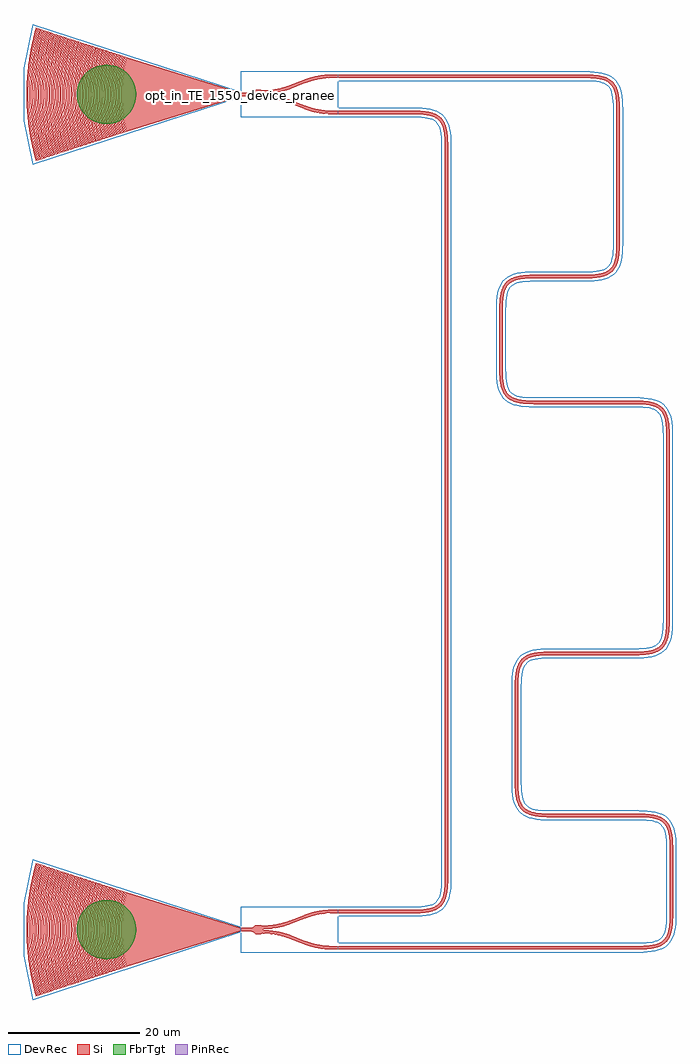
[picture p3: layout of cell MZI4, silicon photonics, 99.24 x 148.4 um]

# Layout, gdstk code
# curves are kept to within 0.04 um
import gdstk
lib = gdstk.Library(unit=1e-6, precision=1e-09)
def R(c, l, rs):  # rectangles x0, y0, x1, y1
    for r in rs: c.add(gdstk.rectangle(r[:2], r[2:], *l))
def P(c, l, *ps):  # polygons
    for p in ps: c.add(gdstk.Polygon(p, *l))
Si = (1, 0)
PinRec = (1, 10)
DevRec = (68, 0)
FbrTgt = (81, 0)

te1550_subgc_neg31_oxide = lib.new_cell('TE1550_SubGC_neg31_oxide')
P(te1550_subgc_neg31_oxide, Si, [(-17.556,-5.704),(-17.743,-4.914),(-17.881,-4.233),(-18.016,-3.437),(-18.095,-2.866),(-18.165,-2.237),(-18.222,-1.549),(-18.256,-0.918),(-18.274,-0.115),(-18.264,0.689),(-18.233,1.377),(-18.176,2.122),(-18.095,2.866),(-18.016,3.437),(-17.881,4.233),(-17.743,4.914),(-17.556,5.704),(-17.481,5.68),(-17.643,5.006),(-17.784,4.329),(-17.922,3.536),(-18.032,2.74),(-18.104,2.056),(-18.148,1.486),(-18.186,0.686),(-18.196,0.114),(-18.189,-0.572),(-18.165,-1.2),(-18.123,-1.828),(-18.058,-2.512),(-17.948,-3.365),(-17.826,-4.102),(-17.668,-4.893),(-17.481,-5.68)],
  [(-17.906,-5.818),(-18.207,-4.492),(-18.452,-2.982),(-18.601,-1.405),(-18.643,-0.117),(-18.601,1.405),(-18.452,2.982),(-18.207,4.492),(-17.906,5.818),(-17.659,5.738),(-17.932,4.544),(-18.188,2.998),(-18.338,1.443),(-18.383,0.116),(-18.338,-1.443),(-18.188,-2.998),(-17.932,-4.544),(-17.659,-5.738)],
  [(-18.084,-5.876),(-18.24,-5.237),(-18.4,-4.479),(-18.525,-3.776),(-18.629,-3.071),(-18.717,-2.305),(-18.772,-1.656),(-18.811,-0.946),(-18.83,-0.118),(-18.823,0.592),(-18.791,1.36),(-18.739,2.069),(-18.644,2.953),(-18.544,3.658),(-18.4,4.479),(-18.24,5.237),(-18.084,5.876),(-18.01,5.852),(-18.204,5.041),(-18.368,4.227),(-18.503,3.409),(-18.609,2.589),(-18.713,1.354),(-18.745,0.589),(-18.752,0.118),(-18.745,-0.589),(-18.713,-1.354),(-18.609,-2.589),(-18.503,-3.409),(-18.368,-4.227),(-18.204,-5.041),(-18.01,-5.852)],
  [(-18.435,-5.99),(-18.77,-4.506),(-19.001,-3.071),(-19.135,-1.748),(-19.199,-0.121),(-19.159,1.387),(-19.001,3.071),(-18.77,4.506),(-18.435,5.99),(-18.188,5.91),(-18.517,4.445),(-18.744,3.029),(-18.896,1.427),(-18.939,0.119),(-18.896,-1.427),(-18.759,-2.911),(-18.517,-4.445),(-18.188,-5.91)],
  [(-18.613,-6.048),(-18.815,-5.211),(-18.963,-4.49),(-19.099,-3.705),(-19.201,-2.979),(-19.269,-2.373),(-19.338,-1.522),(-19.369,-0.913),(-19.386,-0.122),(-19.377,0.67),(-19.349,1.339),(-19.286,2.191),(-19.201,2.979),(-19.099,3.705),(-18.963,4.49),(-18.815,5.211),(-18.613,6.048),(-18.539,6.024),(-18.713,5.309),(-18.876,4.532),(-19.013,3.751),(-19.131,2.907),(-19.203,2.242),(-19.264,1.455),(-19.291,0.91),(-19.308,0.121),(-19.299,-0.667),(-19.271,-1.334),(-19.239,-1.819),(-19.166,-2.605),(-19.076,-3.329),(-18.91,-4.352),(-18.753,-5.13),(-18.539,-6.024)],
  [(-18.964,-6.162),(-19.262,-4.881),(-19.533,-3.283),(-19.689,-1.799),(-19.755,-0.124),(-19.717,1.365),(-19.573,2.974),(-19.334,4.513),(-18.964,6.162),(-18.717,6.081),(-19.046,4.636),(-19.301,3.057),(-19.43,1.775),(-19.495,0.122),(-19.454,-1.408),(-19.301,-3.057),(-19.046,-4.636),(-18.717,-6.081)],
  [(-19.142,-6.22),(-19.337,-5.421),(-19.48,-4.742),(-19.625,-3.936),(-19.726,-3.251),(-19.808,-2.566),(-19.884,-1.691),(-19.924,-0.94),(-19.942,-0.125),(-19.934,0.626),(-19.9,1.44),(-19.833,2.316),(-19.758,3.002),(-19.635,3.874),(-19.516,4.556),(-19.337,5.421),(-19.142,6.22),(-19.068,6.195),(-19.289,5.277),(-19.44,4.538),(-19.587,3.673),(-19.696,2.866),(-19.772,2.12),(-19.822,1.435),(-19.853,0.749),(-19.864,0.125),(-19.853,-0.749),(-19.822,-1.435),(-19.772,-2.12),(-19.696,-2.866),(-19.587,-3.673),(-19.44,-4.538),(-19.289,-5.277),(-19.068,-6.195)],
  [(-19.493,-6.334),(-19.839,-4.829),(-20.107,-3.185),(-20.256,-1.658),(-20.311,-0.128),(-20.268,1.467),(-20.107,3.185),(-19.839,4.829),(-19.493,6.334),(-19.246,6.253),(-19.574,4.829),(-19.842,3.207),(-19.997,1.637),(-20.051,0.126),(-20.005,-1.511),(-19.866,-3.019),(-19.622,-4.581),(-19.246,-6.253)],
  [(-19.671,-6.391),(-19.843,-5.697),(-20.008,-4.937),(-20.149,-4.173),(-20.283,-3.278),(-20.379,-2.444),(-20.438,-1.738),(-20.482,-0.901),(-20.498,-0.129),(-20.482,0.901),(-20.438,1.738),(-20.379,2.444),(-20.283,3.278),(-20.149,4.173),(-20.008,4.937),(-19.843,5.697),(-19.671,6.391),(-19.597,6.367),(-19.797,5.55),(-20.005,4.538),(-20.153,3.648),(-20.246,2.946),(-20.325,2.179),(-20.373,1.539),(-20.404,0.898),(-20.42,0.128),(-20.412,-0.641),(-20.384,-1.347),(-20.336,-2.051),(-20.261,-2.819),(-20.153,-3.648),(-20.017,-4.474),(-19.825,-5.424),(-19.597,-6.367)],
  [(-20.022,-6.505),(-20.392,-4.896),(-20.656,-3.272),(-20.81,-1.704),(-20.867,-0.131),(-20.81,1.704),(-20.656,3.272),(-20.392,4.896),(-20.022,6.505),(-19.774,6.425),(-20.139,4.835),(-20.382,3.36),(-20.542,1.812),(-20.607,0.129),(-20.567,-1.424),(-20.399,-3.231),(-20.139,-4.835),(-19.774,-6.425)],
  [(-20.199,-6.563),(-20.437,-5.591),(-20.599,-4.809),(-20.726,-4.089),(-20.832,-3.367),(-20.931,-2.511),(-20.992,-1.785),(-21.04,-0.86),(-21.054,-0.132),(-21.044,0.728),(-21.001,1.653),(-20.931,2.511),(-20.849,3.235),(-20.726,4.089),(-20.599,4.809),(-20.437,5.591),(-20.199,6.563),(-20.125,6.539),(-20.347,5.635),(-20.523,4.791),(-20.67,3.943),(-20.804,2.961),(-20.878,2.239),(-20.923,1.647),(-20.962,0.857),(-20.976,0.132),(-20.966,-0.725),(-20.935,-1.449),(-20.878,-2.239),(-20.804,-2.961),(-20.67,-3.943),(-20.523,-4.791),(-20.347,-5.635),(-20.125,-6.539)],
  [(-20.55,-6.677),(-20.906,-5.158),(-21.205,-3.359),(-21.355,-1.883),(-21.423,-0.135),(-21.373,1.615),(-21.205,3.359),(-20.906,5.158),(-20.55,6.677),(-20.303,6.597),(-20.705,4.833),(-20.957,3.252),(-21.105,1.728),(-21.163,0.133),(-21.105,-1.728),(-20.957,-3.252),(-20.705,-4.833),(-20.303,-6.597)],
  [(-20.728,-6.735),(-20.912,-6.004),(-21.101,-5.136),(-21.249,-4.331),(-21.372,-3.523),(-21.483,-2.577),(-21.546,-1.832),(-21.593,-0.95),(-21.61,-0.136),(-21.593,0.95),(-21.555,1.696),(-21.483,2.577),(-21.39,3.388),(-21.249,4.331),(-21.101,5.136),(-20.912,6.004),(-20.728,6.735),(-20.654,6.711),(-20.868,5.85),(-21.025,5.118),(-21.195,4.181),(-21.33,3.241),(-21.412,2.5),(-21.473,1.758),(-21.515,0.947),(-21.532,0.135),(-21.525,-0.609),(-21.497,-1.352),(-21.448,-2.095),(-21.37,-2.904),(-21.237,-3.913),(-21.077,-4.85),(-20.868,-5.85),(-20.654,-6.711)],
  [(-21.079,-6.849),(-21.432,-5.359),(-21.736,-3.583),(-21.923,-1.725),(-21.979,-0.138),(-21.923,1.725),(-21.772,3.308),(-21.473,5.155),(-21.079,6.849),(-20.832,6.769),(-21.207,5.162),(-21.47,3.608),(-21.664,1.705),(-21.719,0.136),(-21.664,-1.705),(-21.515,-3.269),(-21.207,-5.162),(-20.832,-6.769)],
  [(-21.257,-6.907),(-21.494,-5.953),(-21.655,-5.199),(-21.817,-4.304),(-21.93,-3.544),(-22.042,-2.574),(-22.105,-1.81),(-22.146,-1.044),(-22.166,-0.139),(-22.159,0.627),(-22.114,1.67),(-22.042,2.574),(-21.957,3.336),(-21.817,4.304),(-21.655,5.199),(-21.494,5.953),(-21.257,6.907),(-21.183,6.883),(-21.419,5.932),(-21.606,5.044),(-21.773,4.083),(-21.888,3.256),(-21.971,2.495),(-22.036,1.665),(-22.073,0.902),(-22.088,0.139),(-22.081,-0.624),(-22.052,-1.387),(-22.001,-2.149),(-21.905,-3.117),(-21.773,-4.083),(-21.606,-5.044),(-21.419,-5.932),(-21.183,-6.883)],
  [(-21.608,-7.021),(-21.985,-5.425),(-22.294,-3.603),(-22.482,-1.698),(-22.535,-0.142),(-22.482,1.698),(-22.294,3.603),(-21.985,5.425),(-21.608,7.021),(-21.361,6.941),(-21.761,5.224),(-22.028,3.631),(-22.218,1.749),(-22.275,0.14),(-22.227,-1.609),(-22.073,-3.283),(-21.788,-5.086),(-21.361,-6.941)],
  [(-21.786,-7.079),(-21.964,-6.381),(-22.167,-5.469),(-22.302,-4.765),(-22.469,-3.704),(-22.565,-2.923),(-22.649,-1.997),(-22.704,-0.999),(-22.722,-0.143),(-22.713,0.714),(-22.677,1.57),(-22.601,2.567),(-22.488,3.562),(-22.374,4.341),(-22.195,5.329),(-22.03,6.101),(-21.786,7.079),(-21.712,7.055),(-21.922,6.22),(-22.161,5.1),(-22.308,4.256),(-22.447,3.267),(-22.53,2.487),(-22.586,1.778),(-22.626,0.996),(-22.644,0.142),(-22.635,-0.711),(-22.595,-1.635),(-22.53,-2.487),(-22.447,-3.267),(-22.308,-4.256),(-22.161,-5.1),(-21.922,-6.22),(-21.712,-7.055)],
  [(-22.137,-7.193),(-22.54,-5.486),(-22.843,-3.692),(-23.011,-2.102),(-23.091,-0.145),(-23.045,1.595),(-22.862,3.547),(-22.54,5.486),(-22.137,7.193),(-21.89,7.112),(-22.287,5.425),(-22.596,3.579),(-22.777,1.721),(-22.831,0.143),(-22.777,-1.721),(-22.596,-3.579),(-22.287,-5.425),(-21.89,-7.112)],
  [(-22.315,-7.25),(-22.549,-6.321),(-22.736,-5.458),(-22.895,-4.592),(-23.047,-3.576),(-23.139,-2.776),(-23.218,-1.827),(-23.262,-0.951),(-23.278,-0.146),(-23.262,0.951),(-23.218,1.827),(-23.139,2.776),(-23.047,3.576),(-22.895,4.592),(-22.736,5.458),(-22.549,6.321),(-22.315,7.25),(-22.24,7.226),(-22.457,6.372),(-22.646,5.512),(-22.843,4.432),(-22.979,3.492),(-23.076,2.621),(-23.145,1.748),(-23.184,0.947),(-23.2,0.146),(-23.194,-0.583),(-23.158,-1.53),(-23.102,-2.33),(-23.006,-3.274),(-22.899,-4.071),(-22.73,-5.081),(-22.507,-6.157),(-22.24,-7.226)],
  [(-22.666,-7.364),(-23.095,-5.545),(-23.392,-3.78),(-23.581,-1.93),(-23.647,-0.149),(-23.586,1.856),(-23.421,3.559),(-23.095,5.545),(-22.666,7.364),(-22.418,7.284),(-22.842,5.484),(-23.145,3.666),(-23.311,2.056),(-23.387,0.147),(-23.336,-1.689),(-23.145,-3.666),(-22.842,-5.484),(-22.418,-7.284)],
  [(-22.843,-7.422),(-23.067,-6.545),(-23.262,-5.662),(-23.441,-4.701),(-23.556,-3.959),(-23.691,-2.842),(-23.762,-2.02),(-23.815,-1.048),(-23.834,-0.15),(-23.82,0.898),(-23.782,1.721),(-23.713,2.618),(-23.606,3.587),(-23.441,4.701),(-23.277,5.588),(-23.067,6.545),(-22.843,7.422),(-22.769,7.398),(-22.992,6.523),(-23.201,5.57),(-23.389,4.538),(-23.538,3.501),(-23.642,2.535),(-23.704,1.716),(-23.742,0.895),(-23.756,0.149),(-23.742,-0.895),(-23.704,-1.716),(-23.642,-2.535),(-23.565,-3.278),(-23.401,-4.464),(-23.23,-5.423),(-22.992,-6.523),(-22.769,-7.398)],
  [(-23.194,-7.536),(-23.605,-5.824),(-23.951,-3.793),(-24.135,-1.976),(-24.203,-0.152),(-24.15,1.748),(-23.961,3.718),(-23.605,5.824),(-23.194,7.536),(-22.947,7.456),(-23.368,5.688),(-23.684,3.827),(-23.876,1.955),(-23.943,0.15),(-23.886,-1.804),(-23.704,-3.678),(-23.383,-5.614),(-22.947,-7.456)],
  [(-23.372,-7.594),(-23.602,-6.696),(-23.802,-5.793),(-23.96,-4.962),(-24.115,-3.975),(-24.219,-3.137),(-24.316,-2.067),(-24.373,-0.996),(-24.39,-0.153),(-24.373,0.996),(-24.316,2.067),(-24.219,3.137),(-24.115,3.975),(-23.96,4.962),(-23.802,5.793),(-23.602,6.696),(-23.372,7.594),(-23.298,7.57),(-23.562,6.525),(-23.801,5.399),(-23.971,4.417),(-24.088,3.583),(-24.188,2.67),(-24.249,1.908),(-24.295,0.993),(-24.312,0.153),(-24.3,-0.84),(-24.263,-1.68),(-24.195,-2.594),(-24.088,-3.583),(-23.971,-4.417),(-23.801,-5.399),(-23.562,-6.525),(-23.298,-7.57)],
  [(-23.723,-7.708),(-24.145,-5.957),(-24.479,-4.035),(-24.678,-2.176),(-24.759,-0.156),(-24.709,1.71),(-24.5,3.88),(-24.145,5.957),(-23.723,7.708),(-23.476,7.628),(-23.908,5.819),(-24.233,3.916),(-24.43,2),(-24.499,0.154),(-24.43,-2),(-24.233,-3.916),(-23.908,-5.819),(-23.476,-7.628)],
  [(-23.901,-7.766),(-24.137,-6.848),(-24.358,-5.848),(-24.518,-4.997),(-24.674,-3.987),(-24.779,-3.13),(-24.87,-2.115),(-24.916,-1.332),(-24.946,-0.157),(-24.931,0.94),(-24.891,1.802),(-24.803,2.896),(-24.695,3.832),(-24.531,4.92),(-24.358,5.848),(-24.137,6.848),(-23.901,7.766),(-23.827,7.742),(-24.098,6.674),(-24.313,5.676),(-24.493,4.672),(-24.638,3.665),(-24.733,2.809),(-24.803,1.952),(-24.848,1.094),(-24.868,0.156),(-24.858,-0.781),(-24.818,-1.718),(-24.733,-2.809),(-24.638,-3.665),(-24.493,-4.672),(-24.313,-5.676),(-24.098,-6.674),(-23.827,-7.742)],
  [(-24.252,-7.88),(-24.717,-5.934),(-25.049,-3.967),(-25.232,-2.225),(-25.315,-0.159),(-25.259,1.828),(-25.07,3.809),(-24.717,5.934),(-24.252,7.88),(-24.005,7.8),(-24.464,5.873),(-24.782,4.005),(-24.973,2.202),(-25.055,0.157),(-25.009,-1.652),(-24.803,-3.848),(-24.464,-5.873),(-24.005,-7.8)],
  [(-24.43,-7.938),(-24.709,-6.843),(-24.866,-6.135),(-25.049,-5.187),(-25.234,-3.997),(-25.339,-3.12),(-25.424,-2.162),(-25.478,-1.202),(-25.502,-0.16),(-25.489,0.881),(-25.435,2.002),(-25.339,3.12),(-25.234,3.997),(-25.049,5.187),(-24.866,6.135),(-24.709,6.843),(-24.43,7.938),(-24.356,7.914),(-24.634,6.822),(-24.839,5.881),(-25,5.014),(-25.178,3.826),(-25.278,2.952),(-25.352,2.075),(-25.397,1.278),(-25.424,0.16),(-25.409,-0.958),(-25.377,-1.677),(-25.293,-2.792),(-25.198,-3.667),(-25.052,-4.697),(-24.839,-5.881),(-24.634,-6.822),(-24.356,-7.914)],
  [(-24.781,-8.052),(-25.241,-6.144),(-25.576,-4.216),(-25.803,-2.031),(-25.871,-0.163),(-25.803,2.031),(-25.609,3.974),(-25.274,5.984),(-24.781,8.052),(-24.533,7.971),(-24.972,6.161),(-25.308,4.253),(-25.544,2.01),(-25.611,0.161),(-25.544,-2.01),(-25.352,-3.934),(-25.021,-5.924),(-24.533,-7.971)],
  [(-24.959,-8.11),(-25.187,-7.232),(-25.423,-6.188),(-25.635,-5.057),(-25.772,-4.165),(-25.891,-3.188),(-25.984,-2.127),(-26.03,-1.31),(-26.058,-0.164),(-26.045,0.9),(-25.995,1.964),(-25.891,3.188),(-25.794,4.002),(-25.635,5.057),(-25.423,6.188),(-25.187,7.232),(-24.959,8.11),(-24.884,8.085),(-25.15,7.051),(-25.38,6.009),(-25.572,4.961),(-25.738,3.828),(-25.846,2.853),(-25.917,1.958),(-25.967,0.898),(-25.98,0.163),(-25.967,-0.898),(-25.932,-1.713),(-25.868,-2.609),(-25.768,-3.585),(-25.624,-4.638),(-25.412,-5.848),(-25.207,-6.811),(-24.884,-8.085)],
  [(-25.31,-8.224),(-25.815,-6.112),(-26.136,-4.224),(-26.357,-2.074),(-26.427,-0.166),(-26.368,1.909),(-26.18,3.894),(-25.815,6.112),(-25.31,8.224),(-25.062,8.143),(-25.512,6.295),(-25.868,4.264),(-26.098,2.054),(-26.167,0.164),(-26.123,-1.644),(-25.923,-3.856),(-25.562,-6.052),(-25.062,-8.143)],
  [(-25.487,-8.281),(-25.761,-7.222),(-25.946,-6.402),(-26.152,-5.33),(-26.321,-4.254),(-26.451,-3.173),(-26.532,-2.256),(-26.589,-1.254),(-26.614,-0.167),(-26.598,1.003),(-26.538,2.172),(-26.451,3.173),(-26.321,4.254),(-26.152,5.33),(-25.946,6.402),(-25.761,7.222),(-25.487,8.281),(-25.413,8.257),(-25.686,7.201),(-25.921,6.137),(-26.118,5.067),(-26.288,3.91),(-26.374,3.164),(-26.466,2.083),(-26.511,1.25),(-26.536,0.167),(-26.525,-0.834),(-26.482,-1.833),(-26.406,-2.831),(-26.288,-3.91),(-26.118,-5.067),(-25.921,-6.137),(-25.686,-7.201),(-25.413,-8.257)],
  [(-25.838,-8.395),(-26.339,-6.323),(-26.685,-4.312),(-26.887,-2.456),(-26.983,-0.17),(-26.917,2.033),(-26.708,4.144),(-26.356,6.24),(-25.838,8.395),(-25.591,8.315),(-26.086,6.263),(-26.44,4.188),(-26.658,2.014),(-26.723,0.168),(-26.658,-2.014),(-26.44,-4.188),(-26.086,-6.263),(-25.591,-8.315)],
  [(-26.016,-8.453),(-26.256,-7.539),(-26.503,-6.451),(-26.697,-5.441),(-26.858,-4.427),(-26.976,-3.494),(-27.086,-2.303),(-27.144,-1.28),(-27.17,-0.085),(-27.156,0.939),(-27.098,2.133),(-27.012,3.154),(-26.893,4.173),(-26.726,5.272),(-26.538,6.283),(-26.256,7.539),(-26.016,8.453),(-25.942,8.429),(-26.261,7.184),(-26.479,6.181),(-26.664,5.173),(-26.838,3.992),(-26.943,3.06),(-27.026,2.042),(-27.078,0.936),(-27.092,0.085),(-27.078,-0.936),(-27.026,-2.042),(-26.943,-3.06),(-26.838,-3.992),(-26.664,-5.173),(-26.479,-6.181),(-26.261,-7.184),(-25.942,-8.429)],
  [(-26.367,-8.567),(-26.897,-6.368),(-27.246,-4.315),(-27.466,-2.162),(-27.539,-0.087),(-27.466,2.162),(-27.246,4.315),(-26.897,6.368),(-26.367,8.567),(-26.12,8.487),(-26.644,6.308),(-26.989,4.275),(-27.218,1.97),(-27.279,0.086),(-27.218,-1.97),(-26.989,-4.275),(-26.644,-6.308),(-26.12,-8.487)],
  [(-26.545,-8.625),(-26.832,-7.522),(-27.079,-6.411),(-27.286,-5.294),(-27.442,-4.258),(-27.573,-3.132),(-27.658,-2.089),(-27.712,-0.958),(-27.726,-0.087),(-27.712,0.958),(-27.658,2.089),(-27.573,3.132),(-27.442,4.258),(-27.286,5.294),(-27.079,6.411),(-26.832,7.522),(-26.545,8.625),(-26.471,8.601),(-26.777,7.416),(-27.003,6.393),(-27.195,5.365),(-27.365,4.246),(-27.487,3.209),(-27.586,1.997),(-27.634,0.955),(-27.648,0.087),(-27.634,-0.955),(-27.586,-1.997),(-27.52,-2.863),(-27.42,-3.815),(-27.265,-4.935),(-27.071,-6.051),(-26.817,-7.246),(-26.63,-8.01),(-26.471,-8.601)],
  [(-26.896,-8.739),(-27.402,-6.67),(-27.783,-4.49),(-28.014,-2.293),(-28.095,-0.088),(-28.026,2.117),(-27.807,4.315),(-27.438,6.496),(-26.896,8.739),(-26.649,8.659),(-27.185,6.436),(-27.55,4.275),(-27.761,2.185),(-27.835,0.087),(-27.761,-2.185),(-27.55,-4.275),(-27.185,-6.436),(-26.649,-8.659)],
  [(-27.074,-8.797),(-27.346,-7.759),(-27.602,-6.627),(-27.802,-5.576),(-27.955,-4.608),(-28.098,-3.46),(-28.194,-2.397),(-28.255,-1.332),(-28.282,-0.089),(-28.265,1.066),(-28.218,2.042),(-28.134,3.106),(-28.015,4.167),(-27.832,5.4),(-27.62,6.539),(-27.346,7.759),(-27.074,8.797),(-27,8.773),(-27.292,7.651),(-27.544,6.521),(-27.77,5.297),(-27.949,4.067),(-28.048,3.186),(-28.129,2.214),(-28.184,1.152),(-28.204,0.089),(-28.187,-1.063),(-28.146,-1.948),(-28.073,-2.921),(-27.949,-4.067),(-27.77,-5.297),(-27.544,-6.521),(-27.292,-7.651),(-27,-8.773)],
  [(-27.425,-8.911),(-27.979,-6.624),(-28.344,-4.489),(-28.568,-2.339),(-28.651,-0.09),(-28.568,2.339),(-28.344,4.489),(-27.979,6.624),(-27.425,8.911),(-27.177,8.83),(-27.708,6.652),(-28.075,4.537),(-28.309,2.317),(-28.391,0.089),(-28.309,-2.317),(-28.075,-4.537),(-27.708,-6.652),(-27.177,-8.83)],
  [(-27.603,-8.969),(-27.881,-7.91),(-28.124,-6.845),(-28.347,-5.685),(-28.529,-4.518),(-28.678,-3.257),(-28.761,-2.264),(-28.814,-1.268),(-28.838,-0.091),(-28.826,0.906),(-28.761,2.264),(-28.678,3.257),(-28.529,4.518),(-28.347,5.685),(-28.124,6.845),(-27.881,7.91),(-27.603,8.969),(-27.528,8.944),(-27.806,7.889),(-28.085,6.649),(-28.316,5.402),(-28.476,4.327),(-28.582,3.428),(-28.677,2.348),(-28.736,1.265),(-28.76,0.09),(-28.748,-0.903),(-28.695,-2.077),(-28.609,-3.158),(-28.499,-4.147),(-28.331,-5.312),(-28.121,-6.472),(-27.87,-7.624),(-27.528,-8.944)],
  [(-27.953,-9.083),(-28.52,-6.752),(-28.893,-4.576),(-29.135,-2.201),(-29.207,-0.092),(-29.135,2.201),(-28.918,4.394),(-28.52,6.752),(-27.953,9.083),(-27.706,9.002),(-28.23,6.871),(-28.624,4.626),(-28.863,2.363),(-28.947,0.091),(-28.887,-2),(-28.649,-4.445),(-28.23,-6.871),(-27.706,-9.002)],
  [(-28.131,-9.14),(-28.416,-8.062),(-28.645,-7.068),(-28.86,-5.977),(-29.078,-4.605),(-29.221,-3.412),(-29.315,-2.307),(-29.373,-1.2),(-29.394,-0.092),(-29.373,1.2),(-29.315,2.307),(-29.221,3.412),(-29.078,4.605),(-28.86,5.977),(-28.645,7.068),(-28.416,8.062),(-28.131,9.14),(-28.057,9.116),(-28.363,7.951),(-28.663,6.596),(-28.892,5.323),(-29.061,4.136),(-29.179,3.036),(-29.255,2.025),(-29.301,1.013),(-29.316,0.092),(-29.301,-1.013),(-29.255,-2.025),(-29.179,-3.036),(-29.061,-4.136),(-28.892,-5.323),(-28.663,-6.596),(-28.363,-7.951),(-28.057,-9.116)],
  [(-28.482,-9.254),(-29.003,-7.156),(-29.416,-4.849),(-29.683,-2.336),(-29.763,-0.094),(-29.683,2.336),(-29.455,4.57),(-29.042,6.972),(-28.482,9.254),(-28.235,9.174),(-28.77,7.003),(-29.173,4.714),(-29.424,2.316),(-29.503,0.093),(-29.424,-2.316),(-29.173,-4.714),(-28.77,-7.003),(-28.235,-9.174)],
  [(-28.66,-9.312),(-28.928,-8.306),(-29.224,-7.016),(-29.421,-5.996),(-29.601,-4.879),(-29.733,-3.851),(-29.863,-2.445),(-29.925,-1.317),(-29.95,-0.094),(-29.937,0.941),(-29.882,2.163),(-29.792,3.289),(-29.64,4.599),(-29.437,5.904),(-29.224,7.016),(-28.928,8.306),(-28.66,9.312),(-28.586,9.288),(-28.898,8.101),(-29.148,6.998),(-29.393,5.703),(-29.563,4.587),(-29.696,3.467),(-29.798,2.251),(-29.847,1.314),(-29.872,0.094),(-29.862,-0.845),(-29.798,-2.251),(-29.696,-3.467),(-29.563,-4.587),(-29.393,-5.703),(-29.148,-6.998),(-28.898,-8.101),(-28.586,-9.288)],
  [(-29.011,-9.426),(-29.563,-7.196),(-29.965,-4.939),(-30.237,-2.38),(-30.319,-0.095),(-30.25,2.19),(-30.017,4.561),(-29.602,7.008),(-29.011,9.426),(-28.764,9.346),(-29.33,7.041),(-29.735,4.709),(-29.978,2.359),(-30.059,0.094),(-29.978,-2.359),(-29.735,-4.709),(-29.33,-7.041),(-28.764,-9.346)],
  [(-29.189,-9.484),(-29.554,-8.085),(-29.784,-7.052),(-29.999,-5.918),(-30.163,-4.874),(-30.295,-3.827),(-30.417,-2.49),(-30.484,-1.246),(-30.506,-0.096),(-30.484,1.246),(-30.417,2.49),(-30.295,3.827),(-30.163,4.874),(-29.999,5.918),(-29.784,7.052),(-29.554,8.085),(-29.189,9.484),(-29.115,9.46),(-29.456,8.158),(-29.708,7.034),(-29.97,5.62),(-30.125,4.577),(-30.248,3.532),(-30.346,2.388),(-30.406,1.242),(-30.428,0.096),(-30.406,-1.242),(-30.346,-2.388),(-30.248,-3.532),(-30.125,-4.577),(-29.97,-5.62),(-29.708,-7.034),(-29.456,-8.158),(-29.115,-9.46)],
  [(-29.54,-9.598),(-30.143,-7.137),(-30.554,-4.741),(-30.798,-2.327),(-30.875,-0.097),(-30.798,2.327),(-30.554,4.741),(-30.143,7.137),(-29.54,9.598),(-29.293,9.518),(-29.89,7.077),(-30.284,4.796),(-30.539,2.307),(-30.615,0.096),(-30.539,-2.307),(-30.284,-4.796),(-29.89,-7.077),(-29.293,-9.518)],
  [(-29.718,-9.656),(-29.997,-8.613),(-30.285,-7.371),(-30.493,-6.315),(-30.712,-4.963),(-30.857,-3.8),(-30.964,-2.633),(-31.036,-1.366),(-31.062,-0.098),(-31.046,1.073),(-30.991,2.243),(-30.897,3.411),(-30.752,4.673),(-30.561,5.929),(-30.345,7.084),(-30.044,8.422),(-29.718,9.656),(-29.643,9.632),(-29.969,8.401),(-30.269,7.066),(-30.501,5.818),(-30.7,4.468),(-30.829,3.306),(-30.907,2.335),(-30.965,1.168),(-30.984,0.097),(-30.965,-1.168),(-30.907,-2.335),(-30.829,-3.306),(-30.7,-4.468),(-30.501,-5.818),(-30.269,-7.066),(-29.969,-8.401),(-29.643,-9.632)],
  [(-30.069,-9.77),(-30.664,-7.362),(-31.09,-4.924),(-31.346,-2.467),(-31.431,-0.099),(-31.346,2.467),(-31.09,4.924),(-30.664,7.362),(-30.069,9.77),(-29.821,9.69),(-30.411,7.301),(-30.833,4.883),(-31.093,2.349),(-31.171,0.098),(-31.093,-2.349),(-30.833,-4.883),(-30.411,-7.301),(-29.821,-9.69)],
  [(-30.246,-9.828),(-30.603,-8.475),(-30.866,-7.308),(-31.107,-6.035),(-31.288,-4.855),(-31.43,-3.67),(-31.539,-2.382),(-31.595,-1.291),(-31.618,-0.099),(-31.595,1.291),(-31.539,2.382),(-31.43,3.67),(-31.288,4.855),(-31.107,6.035),(-30.866,7.308),(-30.603,8.475),(-30.246,9.828),(-30.172,9.804),(-30.528,8.455),(-30.77,7.387),(-30.907,6.705),(-31.047,5.922),(-31.211,4.843),(-31.342,3.759),(-31.461,2.377),(-31.517,1.288),(-31.54,0.099),(-31.529,-0.892),(-31.474,-2.179),(-31.391,-3.266),(-31.25,-4.548),(-31.047,-5.922),(-30.83,-7.095),(-30.528,-8.455),(-30.172,-9.804)],
  [(-30.597,-9.942),(-31.225,-7.393),(-31.625,-5.111),(-31.893,-2.611),(-31.987,-0.1),(-31.907,2.41),(-31.653,4.911),(-31.225,7.393),(-30.597,9.942),(-30.35,9.861),(-30.931,7.529),(-31.396,4.872),(-31.641,2.49),(-31.727,0.1),(-31.641,-2.49),(-31.396,-4.872),(-30.931,-7.529),(-30.35,-9.861)],
  [(-30.775,-9.999),(-31.09,-8.821),(-31.344,-7.734),(-31.564,-6.64),(-31.795,-5.241),(-31.95,-4.036),(-32.072,-2.727),(-32.129,-1.819),(-32.154,-1.213),(-32.174,-0.101),(-32.154,1.213),(-32.1,2.323),(-32.012,3.432),(-31.851,4.84),(-31.686,5.941),(-31.428,7.337),(-31.139,8.624),(-30.775,9.999),(-30.701,9.975),(-31.015,8.8),(-31.18,8.11),(-31.352,7.319),(-31.593,6.027),(-31.774,4.828),(-31.915,3.625),(-32.009,2.519),(-32.069,1.411),(-32.096,0.101),(-32.076,-1.21),(-32.009,-2.519),(-31.915,-3.625),(-31.774,-4.828),(-31.593,-6.027),(-31.352,-7.319),(-31.18,-8.11),(-31.015,-8.8),(-30.701,-9.975)],
  [(-31.126,-10.114),(-31.724,-7.722),(-32.174,-5.199),(-32.447,-2.656),(-32.543,-0.102),(-32.519,1.329),(-32.447,2.656),(-32.174,5.199),(-31.724,7.722),(-31.126,10.114),(-30.879,10.033),(-31.471,7.66),(-31.917,5.158),(-32.188,2.635),(-32.283,0.101),(-32.202,-2.433),(-31.959,-4.856),(-31.534,-7.361),(-31.244,-8.653),(-30.879,-10.033)],
  [(-17.378,-5.646),(-17.678,-4.303),(-17.903,-2.893),(-18.043,-1.42),(-18.087,-0.114),(-18.05,1.306),(-17.924,2.724),(-17.678,4.303),(-17.378,5.646),(0,0.25),(0,-0.25)])
te1550_subgc_neg31_oxide.add(gdstk.Label('Ref: Yun Wang, Optics Express, 08/2014', (-33,0), layer=10, texttype=0))
te1550_subgc_neg31_oxide.add(gdstk.Label('http://dx.doi.org/10.1364/OE.22.020652', (-33,-2), layer=10, texttype=0))
te1550_subgc_neg31_oxide.add(gdstk.Label('TE 1550 -31 deg', (-33,2), layer=10, texttype=0))

ebeam_gc_te1550 = lib.new_cell('ebeam_gc_te1550')
R(ebeam_gc_te1550, Si, [(-0.001,-0.001,0.001,0.001)])
P(ebeam_gc_te1550, DevRec, [(-31.6,-10.7),(-33,-4),(-33,4),(-31.6,10.7),(0,0.4),(0,-0.4)])
P(ebeam_gc_te1550, FbrTgt, [(-20.621,-4.5),(-21.495,-4.37),(-22.326,-4.073),(-23.084,-3.619),(-23.738,-3.026),(-24.264,-2.316),(-24.642,-1.518),(-24.857,-0.661),(-24.9,0.221),(-24.77,1.095),(-24.473,1.926),(-24.019,2.684),(-23.426,3.338),(-22.716,3.864),(-21.918,4.242),(-21.061,4.457),(-20.179,4.5),(-19.305,4.37),(-18.474,4.073),(-17.716,3.619),(-17.062,3.026),(-16.536,2.316),(-16.158,1.518),(-15.943,0.661),(-15.9,-0.221),(-16.03,-1.095),(-16.327,-1.926),(-16.781,-2.684),(-17.374,-3.338),(-18.084,-3.864),(-18.882,-4.242),(-19.739,-4.457)])
ebeam_gc_te1550.add(gdstk.FlexPath([(-0.05,0),(0.05,0)], 0.5, ends="flush", simple_path=True, layer=1, datatype=10))  # PinRec
ebeam_gc_te1550.add(gdstk.Reference(te1550_subgc_neg31_oxide, (0,0)))
ebeam_gc_te1550.add(gdstk.Label('opt1', (0,0), layer=1, texttype=10))
ebeam_gc_te1550.add(gdstk.Label('Component=ebeam_gc_te1550', (-28,-5), layer=68, texttype=0))
ebeam_gc_te1550.add(gdstk.Label('Lumerical_INTERCONNECT_library=Design kits/ebeam', (-29,-7), layer=68, texttype=0))

ebeam_y_1550 = lib.new_cell('ebeam_y_1550')
R(ebeam_y_1550, Si, [(6.5,-3,7.4,-2.5), (-7.4,-0.25,-6,0.25), (6.5,2.5,7.4,3)])
P(ebeam_y_1550, Si, [(6.458,-3),(6.237,-2.997),(6.237,-2.497),(6.5,-2.5),(6.5,-3)],
  [(5.033,-2.908),(3.59,-2.634),(2.265,-2.21),(2.445,-1.744),(3.731,-2.154),(5.033,-2.404)],
  [(6.233,-2.997),(5.033,-2.908),(5.033,-2.404),(6.237,-2.497)],
  [(2.265,-2.21),(0.055,-1.356),(0.235,-0.89),(2.445,-1.744)],
  [(-0.762,-1.076),(-2.334,-0.724),(-4,-0.6),(-4,-0.1),(-2.381,-0.212),(-0.762,-0.555)],
  [(0.055,-1.356),(-0.762,-1.076),(-0.762,-0.555),(0.235,-0.89)],
  [(6.237,2.497),(6.237,2.997),(6.5,3),(6.5,2.5)],
  [(2.445,1.744),(2.267,2.211),(3.59,2.634),(5.033,2.908),(5.033,2.404),(3.731,2.154)],
  [(5.033,2.404),(5.033,2.908),(6.237,2.997),(6.237,2.497)],
  [(0.235,0.89),(0.055,1.356),(2.265,2.21),(2.445,1.744)],
  [(-4,0.1),(-4,0.6),(-2.334,0.724),(-0.762,1.076),(-0.762,0.555),(-2.381,0.212)],
  [(-0.762,0.555),(-0.762,1.076),(0.055,1.356),(0.235,0.89)],
  [(-5.122,-0.662),(-5.442,-0.374),(-5.808,-0.255),(-6,-0.25),(-6,0.25),(-5.817,0.253),(-5.442,0.374),(-5.122,0.662)],
  [(-4.957,-0.703),(-5.122,-0.662),(-5.122,0.662),(-4.538,0.703),(-4,0.6),(-4,-0.6),(-4.509,-0.701)])
R(ebeam_y_1550, DevRec, [(-7.4,-3.5,7.4,3.5)])
ebeam_y_1550.add(gdstk.FlexPath([(-7.35,0),(-7.45,0)], 0.5, ends="flush", simple_path=True, layer=1, datatype=10))  # PinRec
ebeam_y_1550.add(gdstk.FlexPath([(7.35,2.75),(7.45,2.75)], 0.5, ends="flush", simple_path=True, layer=1, datatype=10))  # PinRec
ebeam_y_1550.add(gdstk.FlexPath([(7.35,-2.75),(7.45,-2.75)], 0.5, ends="flush", simple_path=True, layer=1, datatype=10))  # PinRec
ebeam_y_1550.add(gdstk.Label('Ref: Y Zhang, Opt. Express, 21/1, 2013', (-7.5,-1), layer=10, texttype=0))
ebeam_y_1550.add(gdstk.Label('opt2', (7.4,2.75), layer=1, texttype=10))
ebeam_y_1550.add(gdstk.Label('opt3', (7.4,-2.75), layer=1, texttype=10))
ebeam_y_1550.add(gdstk.Label('opt1', (-7.4,0), layer=1, texttype=10))
ebeam_y_1550.add(gdstk.Label('Component=ebeam_y_1550', (-6,1.5), layer=68, texttype=0))
ebeam_y_1550.add(gdstk.Label('Lumerical_INTERCONNECT_library=Design kits/ebeam', (-6.86,-2.19), layer=68, texttype=0))

waveguide_4 = lib.new_cell('Waveguide$4')
P(waveguide_4, Si, [(-252.35,68.37),(-252.35,68.87),(-240.653,68.872),(-239.484,68.924),(-238.528,69.066),(-237.566,69.411),(-237.202,69.655),(-236.904,69.953),(-236.464,70.756),(-236.191,72.061),(-236.12,73.62),(-236.12,185.12),(-236.233,187.01),(-236.51,188.102),(-236.974,188.867),(-237.377,189.214),(-237.777,189.434),(-238.826,189.733),(-240.653,189.869),(-252.35,189.87),(-252.35,190.37),(-240.649,190.369),(-239.257,190.297),(-238.267,190.126),(-237.573,189.89),(-236.99,189.553),(-236.519,189.104),(-236.16,188.543),(-235.865,187.724),(-235.715,186.911),(-235.63,185.768),(-235.62,73.62),(-235.693,72.007),(-235.827,71.171),(-235.994,70.588),(-236.222,70.077),(-236.518,69.637),(-236.886,69.269),(-237.326,68.973),(-237.837,68.745),(-238.42,68.578),(-239.256,68.444),(-240.432,68.375)])
P(waveguide_4, DevRec, [(-252.35,67.87),(-252.35,69.37),(-240.22,69.381),(-239.125,69.468),(-238.294,69.646),(-237.711,69.906),(-237.494,70.063),(-237.155,70.462),(-236.795,71.427),(-236.662,72.39),(-236.62,73.62),(-236.62,185.12),(-236.718,186.865),(-236.896,187.696),(-237.016,188.016),(-237.313,188.496),(-237.495,188.678),(-237.975,188.975),(-239.126,189.273),(-240.871,189.37),(-252.35,189.37),(-252.35,190.87),(-240.869,190.87),(-239.52,190.824),(-238.361,190.661),(-237.361,190.343),(-236.521,189.818),(-236.173,189.47),(-235.882,189.071),(-235.466,188.148),(-235.232,187.073),(-235.131,185.822),(-235.12,73.62),(-235.166,72.27),(-235.329,71.111),(-235.465,70.593),(-235.881,69.67),(-236.172,69.271),(-236.919,68.632),(-237.36,68.398),(-238.36,68.08),(-239.519,67.917),(-240.857,67.87)])
waveguide_4.add(gdstk.FlexPath([(-252.3,190.12),(-252.4,190.12)], 0.5, ends="flush", simple_path=True, layer=1, datatype=10))  # PinRec
waveguide_4.add(gdstk.FlexPath([(-252.3,68.62),(-252.4,68.62)], 0.5, ends="flush", simple_path=True, layer=1, datatype=10))  # PinRec
waveguide_4.add(gdstk.Label('pin1', (-252.35,190.12), layer=1, texttype=10))
waveguide_4.add(gdstk.Label('pin2', (-252.35,68.62), layer=1, texttype=10))
waveguide_4.add(gdstk.Label('cellName=Waveguide', (-252.35,190.32), layer=68, texttype=0))
waveguide_4.add(gdstk.Label('Lumerical_INTERCONNECT_library=Design kits/EBeam', (-252.35,190.02), layer=68, texttype=0))
waveguide_4.add(gdstk.Label('Component=ebeam_wg_integral_1550', (-252.35,190.22), layer=68, texttype=0))
waveguide_4.add(gdstk.Label('Spice_param:wg_length=151.357u wg_width=0.500u points="[[-252.35,190.12],[-235.87,190.12],[-235.87,68.62],[-252.35,68.62]]" radius=5.0', (-252.35,190.12), layer=68, texttype=0))
waveguide_4.add(gdstk.Label('Length=151.357u', (-252.35,189.92), layer=68, texttype=0))

waveguide_6 = lib.new_cell('Waveguide$6')
P(waveguide_6, Si, [(15.235,-66.23),(15.235,-65.73),(61.755,-65.712),(63.267,-65.534),(64.229,-65.189),(64.593,-64.945),(64.891,-64.647),(65.135,-64.283),(65.372,-63.721),(65.585,-62.708),(65.671,-61.407),(65.657,-50.03),(65.562,-48.97),(65.371,-48.118),(65.077,-47.459),(64.671,-46.963),(64.228,-46.65),(63.666,-46.413),(62.814,-46.222),(61.946,-46.137),(47.152,-46.108),(45.943,-46.054),(44.925,-45.902),(44.207,-45.684),(43.714,-45.44),(43.198,-45.037),(42.865,-44.631),(42.605,-44.157),(42.369,-43.463),(42.152,-41.909),(42.153,-25.19),(42.271,-24.109),(42.453,-23.346),(42.795,-22.579),(43.198,-22.063),(43.715,-21.659),(44.482,-21.317),(45.245,-21.135),(46.326,-21.017),(60.622,-20.988),(62.45,-20.852),(63.499,-20.553),(63.899,-20.333),(64.302,-19.986),(64.766,-19.221),(65.043,-18.129),(65.155,-16.24),(65.15,12.368),(65.101,13.326),(64.959,14.282),(64.765,14.922),(64.498,15.434),(64.072,15.906),(63.498,16.254),(62.746,16.495),(61.611,16.652),(44.792,16.692),(43.583,16.746),(42.565,16.898),(41.847,17.116),(41.354,17.36),(40.932,17.674),(40.582,18.06),(40.304,18.518),(40.092,19.047),(39.82,20.509),(39.765,21.94),(39.806,32.313),(39.941,33.363),(40.14,34.103),(40.435,34.731),(40.838,35.247),(41.355,35.651),(41.983,35.946),(42.723,36.145),(43.584,36.265),(44.794,36.319),(53.243,36.325),(54.86,36.458),(55.68,36.665),(56.309,36.977),(56.781,37.403),(57.176,38.089),(57.453,39.181),(57.561,40.643),(57.565,61.52),(57.474,63.249),(57.369,63.862),(57.175,64.502),(56.711,65.267),(56.397,65.551),(56.015,65.783),(55.011,66.105),(53.644,66.253),(15.235,66.27),(15.235,66.77),(53.036,66.769),(54.605,66.676),(55.708,66.443),(56.237,66.231),(56.695,65.953),(57.081,65.603),(57.395,65.181),(57.639,64.688),(57.82,64.124),(58.024,62.763),(58.064,40.849),(57.971,39.28),(57.738,38.177),(57.325,37.299),(56.799,36.719),(56.113,36.301),(55.108,35.996),(54.247,35.876),(53.253,35.825),(43.809,35.782),(42.819,35.655),(42.151,35.476),(41.615,35.223),(41.192,34.893),(40.806,34.374),(40.569,33.812),(40.378,32.96),(40.293,32.092),(40.266,21.723),(40.355,20.212),(40.609,19.076),(40.805,18.637),(41.118,18.194),(41.521,17.847),(41.921,17.627),(42.97,17.328),(44.798,17.192),(61.647,17.15),(62.854,16.983),(63.702,16.71),(64.388,16.292),(64.914,15.712),(65.229,15.108),(65.447,14.39),(65.581,13.554),(65.65,12.378),(65.655,-16.24),(65.561,-18.03),(65.411,-18.843),(65.23,-19.407),(64.986,-19.9),(64.672,-20.322),(64.286,-20.672),(63.828,-20.95),(62.698,-21.314),(61.837,-21.434),(60.628,-21.488),(46.169,-21.528),(45.179,-21.655),(44.511,-21.834),(43.882,-22.146),(43.479,-22.493),(43.166,-22.936),(42.89,-23.627),(42.738,-24.35),(42.643,-25.41),(42.663,-42.066),(42.889,-43.472),(43.061,-43.953),(43.344,-44.442),(43.707,-44.825),(44.071,-45.069),(44.51,-45.265),(45.178,-45.444),(46.168,-45.571),(47.158,-45.608),(61.974,-45.637),(63.055,-45.755),(63.818,-45.937),(64.468,-46.212),(65.007,-46.593),(65.505,-47.199),(65.847,-47.966),(66.056,-48.896),(66.157,-50.008),(66.171,-61.417),(66.081,-62.77),(65.848,-63.873),(65.636,-64.402),(65.358,-64.86),(65.008,-65.246),(64.586,-65.56),(64.093,-65.804),(63.375,-66.022),(61.777,-66.212)])
P(waveguide_6, DevRec, [(15.235,-66.73),(15.235,-65.23),(61.575,-65.219),(62.67,-65.132),(63.821,-64.834),(64.301,-64.537),(64.483,-64.355),(64.78,-63.875),(64.9,-63.555),(65.078,-62.724),(65.165,-61.629),(65.164,-50.21),(65.077,-49.115),(64.899,-48.284),(64.639,-47.701),(64.3,-47.302),(63.82,-47.005),(63.118,-46.785),(61.574,-46.62),(47.362,-46.61),(46.024,-46.563),(44.865,-46.4),(43.865,-46.082),(43.424,-45.848),(42.677,-45.209),(42.386,-44.81),(41.97,-43.887),(41.834,-43.369),(41.671,-42.21),(41.625,-40.86),(41.636,-25.538),(41.737,-24.287),(41.971,-23.212),(42.387,-22.289),(42.678,-21.89),(43.026,-21.542),(43.866,-21.017),(44.866,-20.699),(46.025,-20.536),(47.374,-20.49),(60.405,-20.49),(61.636,-20.447),(62.599,-20.314),(63.301,-20.094),(63.781,-19.797),(63.963,-19.615),(64.26,-19.135),(64.38,-18.815),(64.558,-17.984),(64.655,-16.24),(64.655,11.94),(64.557,13.685),(64.379,14.516),(64.119,15.099),(63.78,15.498),(63.3,15.795),(62.598,16.015),(61.635,16.148),(45.002,16.19),(43.664,16.237),(42.505,16.4),(41.505,16.718),(41.064,16.952),(40.317,17.591),(40.026,17.99),(39.61,18.913),(39.474,19.431),(39.311,20.59),(39.265,21.939),(39.265,31.083),(39.312,32.421),(39.475,33.58),(39.611,34.098),(40.027,35.021),(40.318,35.42),(40.666,35.768),(41.506,36.293),(42.506,36.611),(43.665,36.774),(52.815,36.82),(54.56,36.918),(55.391,37.096),(55.974,37.356),(56.373,37.695),(56.67,38.175),(56.968,39.326),(57.055,40.421),(57.065,61.52),(56.967,63.265),(56.669,64.416),(56.372,64.896),(56.19,65.078),(55.71,65.375),(54.559,65.673),(53.464,65.76),(15.235,65.77),(15.235,67.27),(52.815,67.27),(54.767,67.159),(55.842,66.925),(56.765,66.509),(57.164,66.218),(57.803,65.471),(58.219,64.548),(58.355,64.03),(58.518,62.871),(58.565,61.533),(58.565,41.07),(58.454,39.118),(58.22,38.043),(57.804,37.12),(57.165,36.373),(56.325,35.848),(55.325,35.53),(53.517,35.331),(43.785,35.278),(42.44,35.045),(41.857,34.785),(41.458,34.446),(41.161,33.966),(40.941,33.264),(40.776,31.72),(40.765,21.941),(40.862,20.196),(41.04,19.365),(41.16,19.045),(41.457,18.565),(41.639,18.383),(42.119,18.086),(42.821,17.866),(43.784,17.733),(45.015,17.69),(60.405,17.69),(61.755,17.644),(62.914,17.481),(63.914,17.163),(64.754,16.638),(65.393,15.891),(65.627,15.45),(65.945,14.45),(66.144,12.642),(66.155,-16.24),(66.044,-18.192),(65.81,-19.267),(65.628,-19.749),(65.103,-20.589),(64.356,-21.228),(63.915,-21.462),(62.915,-21.78),(61.756,-21.943),(60.418,-21.99),(46.145,-22.032),(44.8,-22.265),(44.217,-22.525),(43.818,-22.864),(43.521,-23.344),(43.301,-24.046),(43.136,-25.59),(43.167,-42.09),(43.3,-43.053),(43.66,-44.018),(43.817,-44.235),(44.216,-44.574),(45.181,-44.934),(46.144,-45.067),(47.375,-45.11),(60.926,-45.11),(62.275,-45.156),(63.434,-45.319),(63.952,-45.455),(64.875,-45.871),(65.274,-46.162),(65.622,-46.51),(66.147,-47.35),(66.465,-48.35),(66.628,-49.509),(66.675,-50.847),(66.665,-61.681),(66.564,-62.932),(66.33,-64.007),(65.914,-64.93),(65.623,-65.329),(64.876,-65.968),(64.435,-66.202),(63.435,-66.52),(61.627,-66.719)])
waveguide_6.add(gdstk.FlexPath([(15.285,66.52),(15.185,66.52)], 0.5, ends="flush", simple_path=True, layer=1, datatype=10))  # PinRec
waveguide_6.add(gdstk.FlexPath([(15.285,-65.98),(15.185,-65.98)], 0.5, ends="flush", simple_path=True, layer=1, datatype=10))  # PinRec
waveguide_6.add(gdstk.Label('pin1', (15.235,66.52), layer=1, texttype=10))
waveguide_6.add(gdstk.Label('pin2', (15.235,-65.98), layer=1, texttype=10))
waveguide_6.add(gdstk.Label('cellName=Waveguide', (15.235,66.72), layer=68, texttype=0))
waveguide_6.add(gdstk.Label('Lumerical_INTERCONNECT_library=Design kits/EBeam', (15.235,66.42), layer=68, texttype=0))
waveguide_6.add(gdstk.Label('Component=ebeam_wg_integral_1550', (15.235,66.62), layer=68, texttype=0))
waveguide_6.add(gdstk.Label('Length=300.023u', (15.235,66.32), layer=68, texttype=0))

mzi4 = lib.new_cell('MZI4')
mzi4.add(gdstk.Reference(ebeam_gc_te1550, (0.435,-63.23)))
mzi4.add(gdstk.Reference(ebeam_y_1550, (7.835,63.77)))
mzi4.add(gdstk.Reference(ebeam_y_1550, (7.835,-63.23)))
mzi4.add(gdstk.Reference(ebeam_gc_te1550, (0.435,63.77)))
mzi4.add(gdstk.Reference(waveguide_4, (267.585,-129.1)))
mzi4.add(gdstk.Reference(waveguide_6, (0,0)))
mzi4.add(gdstk.Label('opt_in_TE_1550_device_praneethkarempudi_MZI4', (0.385,63.6), layer=10, texttype=0))

lib.write_gds('MZI4.gds')
